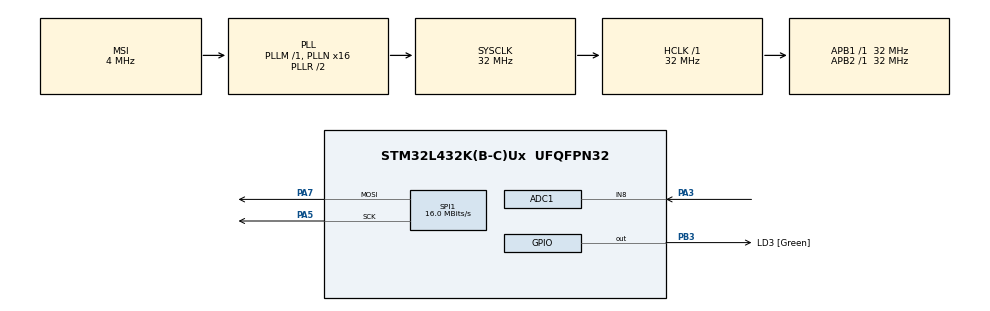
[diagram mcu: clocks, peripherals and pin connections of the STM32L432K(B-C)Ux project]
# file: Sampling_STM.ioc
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ADC1.Channel-0\#ChannelRegularConversion=ADC_CHANNEL_8
ADC1.ExternalTrigConv=ADC_EXTERNALTRIG_T1_TRGO
ADC1.NbrOfConversionFlag=1
ADC1.OffsetNumber-0\#ChannelRegularConversion=ADC_OFFSET_NONE
ADC1.Rank-0\#ChannelRegularConversion=1
ADC1.SamplingTime-0\#ChannelRegularConversion=ADC_SAMPLETIME_2CYCLES_5
ADC1.master=1
Mcu.Family=STM32L4
Mcu.Name=STM32L432K(B-C)Ux
Mcu.Package=UFQFPN32
NVIC.ADC1_IRQn=true\:0\:0\:false\:false\:true\:true\:true\:true
NVIC.PriorityGroup=NVIC_PRIORITYGROUP_4
PA0.GPIO_Label=MCO [High speed clock in]
PA0.Mode=HSE-External-Clock-Source-for-LittleOrca
PA0.Signal=RCC_CK_IN
PA13\ (JTMS-SWDIO).GPIO_Label=SWDIO
PA13\ (JTMS-SWDIO).Mode=Serial_Wire
PA13\ (JTMS-SWDIO).Signal=SYS_JTMS-SWDIO
PA14\ (JTCK-SWCLK).GPIO_Label=SWCLK
PA14\ (JTCK-SWCLK).Mode=Serial_Wire
PA14\ (JTCK-SWCLK).Signal=SYS_JTCK-SWCLK
PA15\ (JTDI).GPIO_Label=VCP_RX
PA15\ (JTDI).Signal=USART2_RX
PA2.GPIO_Label=VCP_TX
PA2.Signal=USART2_TX
PA3.Signal=ADCx_IN8
PA5.Mode=TX_Only_Simplex_Unidirect_Master
PA5.Signal=SPI1_SCK
PA7.Mode=TX_Only_Simplex_Unidirect_Master
PA7.Signal=SPI1_MOSI
PB3\ (JTDO-TRACESWO).GPIO_Label=LD3 [Green]
PB3\ (JTDO-TRACESWO).Signal=GPIO_Output
PC14-OSC32_IN\ (PC14).Mode=LSE-External-Oscillator
PC14-OSC32_IN\ (PC14).Signal=RCC_OSC32_IN
PC15-OSC32_OUT\ (PC15).Mode=LSE-External-Oscillator
PC15-OSC32_OUT\ (PC15).Signal=RCC_OSC32_OUT
ProjectManager.HeapSize=0x200
ProjectManager.StackSize=0x400
ProjectManager.TargetToolchain=STM32CubeIDE
RCC.ADCFreq_Value=32000000
RCC.AHBFreq_Value=32000000
RCC.APB1Freq_Value=32000000
RCC.APB1TimFreq_Value=32000000
RCC.APB2Freq_Value=32000000
RCC.APB2TimFreq_Value=32000000
RCC.CortexFreq_Value=32000000
RCC.HCLKFreq_Value=32000000
RCC.HSE_VALUE=8000000
RCC.HSI16_VALUE=16000000
RCC.HSI48_VALUE=48000000
RCC.HSI_VALUE=16000000
RCC.MSI_VALUE=4000000
RCC.PLLMUL=RCC_PLLMUL_4
RCC.PLLN=16
RCC.PLLSAI1N=16
RCC.SYSCLKFreq_VALUE=32000000
RCC.SYSCLKSource=RCC_SYSCLKSOURCE_PLLCLK
RCC.USBFreq_Value=32000000
RCC.VCOOutputFreq_Value=64000000
SH.ADCx_IN8.0=ADC1_IN8,IN8-Single-Ended
SPI1.CalculateBaudRate=16.0 MBits/s
SPI1.DataSize=SPI_DATASIZE_8BIT
SPI1.Direction=SPI_DIRECTION_2LINES
SPI1.Mode=SPI_MODE_MASTER
SPI1.VirtualType=VM_MASTER
TIM1.Period=725-1
TIM1.Prescaler=0
TIM1.TIM_MasterOutputTrigger=TIM_TRGO_UPDATE
TIM2.Period=65535
TIM2.Prescaler=31
VP_TIM1_VS_ClockSourceINT.Mode=Internal
VP_TIM2_VS_ClockSourceINT.Mode=Internal
board=NUCLEO-L432KC

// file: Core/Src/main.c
/* USER CODE BEGIN Header */
/**
  ******************************************************************************
  * @file           : main.c
  * @brief          : Sampling_STM
  ******************************************************************************
  * @attention
  *
  * Copyright (c) 2026 STMicroelectronics.
  * All rights reserved.
  *
  * This software is licensed under terms that can be found in the LICENSE file
  * in the root directory of this software component.
  * If no LICENSE file comes with this software, it is provided AS-IS.
  *
  ******************************************************************************
  */
/* USER CODE END Header */
#include "main.h"

/* USER CODE BEGIN Includes */
#include <stdio.h>
#include <string.h>
/* USER CODE END Includes */

ADC_HandleTypeDef hadc1;

TIM_HandleTypeDef htim1;
TIM_HandleTypeDef htim2;

/* USER CODE BEGIN PV */

uint16_t raw_ADC_value = 0;

/* USER CODE END PV */

void SystemClock_Config(void);
static void MX_GPIO_Init(void);
static void MX_ADC1_Init(void);
static void MX_TIM2_Init(void);
static void MX_SPI1_Init(void);
static void MX_TIM1_Init(void);

/* USER CODE BEGIN 0 */

static void SPI1_WriteTwoBytes (uint16_t tx_data)
{
    while (!LL_SPI_IsActiveFlag_TXE(SPI1)) {;}
    LL_SPI_TransmitData16(SPI1, tx_data);
    while (LL_SPI_IsActiveFlag_BSY(SPI1)) {;}
    LL_SPI_ClearFlag_OVR(SPI1);
}

/* USER CODE END 0 */

int main(void)
{

  /* MCU Configuration--------------------------------------------------------*/

  /* Reset of all peripherals, Initializes the Flash interface and the Systick. */
  HAL_Init();

  /* Configure the system clock */
  SystemClock_Config();

  /* Initialize all configured peripherals */
  MX_GPIO_Init();
  MX_ADC1_Init();
  MX_TIM2_Init();
  MX_SPI1_Init();
  MX_TIM1_Init();
  /* USER CODE BEGIN 2 */

  // 1. Start the hardware trigger timer (44.1 ksps) [cite: 87, 91]
  HAL_TIM_Base_Start(&htim1);

  // 2. Start the ADC in Interrupt mode
  // It will now sit and wait for TIM1 to trigger it automatically.
  HAL_ADC_Start_IT(&hadc1);

  // 3. Enable the SPI1 Peripheral for the LL drivers [cite: 93]
  LL_SPI_Enable(SPI1);

  /* USER CODE END 2 */

  /* Infinite loop */
  while (1)
  {

  }
}

void SystemClock_Config(void)
{
  RCC_OscInitTypeDef RCC_OscInitStruct = {0};
  RCC_ClkInitTypeDef RCC_ClkInitStruct = {0};

  /** Configure the main internal regulator output voltage
  */
  if (HAL_PWREx_ControlVoltageScaling(PWR_REGULATOR_VOLTAGE_SCALE1) != HAL_OK)
  {
    Error_Handler();
  }

  /** Configure LSE Drive Capability
  */
  HAL_PWR_EnableBkUpAccess();
  __HAL_RCC_LSEDRIVE_CONFIG(RCC_LSEDRIVE_LOW);

  /** Initializes the RCC Oscillators according to the specified parameters
  * in the RCC_OscInitTypeDef structure.
  */
  RCC_OscInitStruct.OscillatorType = RCC_OSCILLATORTYPE_LSE|RCC_OSCILLATORTYPE_MSI;
  RCC_OscInitStruct.LSEState = RCC_LSE_ON;
  RCC_OscInitStruct.MSIState = RCC_MSI_ON;
  RCC_OscInitStruct.MSICalibrationValue = 0;
  RCC_OscInitStruct.MSIClockRange = RCC_MSIRANGE_6;
  RCC_OscInitStruct.PLL.PLLState = RCC_PLL_ON;
  RCC_OscInitStruct.PLL.PLLSource = RCC_PLLSOURCE_MSI;
  RCC_OscInitStruct.PLL.PLLM = 1;
  RCC_OscInitStruct.PLL.PLLN = 16;
  RCC_OscInitStruct.PLL.PLLP = RCC_PLLP_DIV7;
  RCC_OscInitStruct.PLL.PLLQ = RCC_PLLQ_DIV2;
  RCC_OscInitStruct.PLL.PLLR = RCC_PLLR_DIV2;
  if (HAL_RCC_OscConfig(&RCC_OscInitStruct) != HAL_OK)
  {
    Error_Handler();
  }

  /** Initializes the CPU, AHB and APB buses clocks
  */
  RCC_ClkInitStruct.ClockType = RCC_CLOCKTYPE_HCLK|RCC_CLOCKTYPE_SYSCLK
                              |RCC_CLOCKTYPE_PCLK1|RCC_CLOCKTYPE_PCLK2;
  RCC_ClkInitStruct.SYSCLKSource = RCC_SYSCLKSOURCE_PLLCLK;
  RCC_ClkInitStruct.AHBCLKDivider = RCC_SYSCLK_DIV1;
  RCC_ClkInitStruct.APB1CLKDivider = RCC_HCLK_DIV1;
  RCC_ClkInitStruct.APB2CLKDivider = RCC_HCLK_DIV1;

  if (HAL_RCC_ClockConfig(&RCC_ClkInitStruct, FLASH_LATENCY_1) != HAL_OK)
  {
    Error_Handler();
  }

  /** Enable MSI Auto calibration
  */
  HAL_RCCEx_EnableMSIPLLMode();
}

static void MX_ADC1_Init(void)
{

  ADC_ChannelConfTypeDef sConfig = {0};

  /** Common config
  */
  hadc1.Instance = ADC1;
  hadc1.Init.ClockPrescaler = ADC_CLOCK_ASYNC_DIV1;
  hadc1.Init.Resolution = ADC_RESOLUTION_12B;
  hadc1.Init.DataAlign = ADC_DATAALIGN_RIGHT;
  hadc1.Init.ScanConvMode = ADC_SCAN_DISABLE;
  hadc1.Init.EOCSelection = ADC_EOC_SINGLE_CONV;
  hadc1.Init.LowPowerAutoWait = DISABLE;
  hadc1.Init.ContinuousConvMode = DISABLE;
  hadc1.Init.NbrOfConversion = 1;
  hadc1.Init.DiscontinuousConvMode = DISABLE;
  hadc1.Init.ExternalTrigConv = ADC_EXTERNALTRIG_T1_TRGO;
  hadc1.Init.ExternalTrigConvEdge = ADC_EXTERNALTRIGCONVEDGE_RISING;
  hadc1.Init.DMAContinuousRequests = DISABLE;
  hadc1.Init.Overrun = ADC_OVR_DATA_PRESERVED;
  hadc1.Init.OversamplingMode = DISABLE;
  if (HAL_ADC_Init(&hadc1) != HAL_OK)
  {
    Error_Handler();
  }

  /** Configure Regular Channel
  */
  sConfig.Channel = ADC_CHANNEL_8;
  sConfig.Rank = ADC_REGULAR_RANK_1;
  sConfig.SamplingTime = ADC_SAMPLETIME_2CYCLES_5;
  sConfig.SingleDiff = ADC_SINGLE_ENDED;
  sConfig.OffsetNumber = ADC_OFFSET_NONE;
  sConfig.Offset = 0;
  if (HAL_ADC_ConfigChannel(&hadc1, &sConfig) != HAL_OK)
  {
    Error_Handler();
  }

}

static void MX_SPI1_Init(void)
{

  LL_SPI_InitTypeDef SPI_InitStruct = {0};

  LL_GPIO_InitTypeDef GPIO_InitStruct = {0};

  /* Peripheral clock enable */
  LL_APB2_GRP1_EnableClock(LL_APB2_GRP1_PERIPH_SPI1);

  LL_AHB2_GRP1_EnableClock(LL_AHB2_GRP1_PERIPH_GPIOA);
  /**SPI1 GPIO Configuration
  PA5   ------> SPI1_SCK
  PA7   ------> SPI1_MOSI
  */
  GPIO_InitStruct.Pin = LL_GPIO_PIN_5|LL_GPIO_PIN_7;
  GPIO_InitStruct.Mode = LL_GPIO_MODE_ALTERNATE;
  GPIO_InitStruct.Speed = LL_GPIO_SPEED_FREQ_VERY_HIGH;
  GPIO_InitStruct.OutputType = LL_GPIO_OUTPUT_PUSHPULL;
  GPIO_InitStruct.Pull = LL_GPIO_PULL_NO;
  GPIO_InitStruct.Alternate = LL_GPIO_AF_5;
  LL_GPIO_Init(GPIOA, &GPIO_InitStruct);

  /* SPI1 parameter configuration*/
  SPI_InitStruct.TransferDirection = LL_SPI_FULL_DUPLEX;
  SPI_InitStruct.Mode = LL_SPI_MODE_MASTER;
  SPI_InitStruct.DataWidth = LL_SPI_DATAWIDTH_8BIT;
  SPI_InitStruct.ClockPolarity = LL_SPI_POLARITY_LOW;
  SPI_InitStruct.ClockPhase = LL_SPI_PHASE_1EDGE;
  SPI_InitStruct.NSS = LL_SPI_NSS_SOFT;
  SPI_InitStruct.BaudRate = LL_SPI_BAUDRATEPRESCALER_DIV2;
  SPI_InitStruct.BitOrder = LL_SPI_MSB_FIRST;
  SPI_InitStruct.CRCCalculation = LL_SPI_CRCCALCULATION_DISABLE;
  SPI_InitStruct.CRCPoly = 7;
  LL_SPI_Init(SPI1, &SPI_InitStruct);
  LL_SPI_SetStandard(SPI1, LL_SPI_PROTOCOL_MOTOROLA);
  LL_SPI_EnableNSSPulseMgt(SPI1);

}

static void MX_TIM1_Init(void)
{

  TIM_ClockConfigTypeDef sClockSourceConfig = {0};
  TIM_MasterConfigTypeDef sMasterConfig = {0};

  htim1.Instance = TIM1;
  htim1.Init.Prescaler = 0;
  htim1.Init.CounterMode = TIM_COUNTERMODE_UP;
  htim1.Init.Period = 725-1;
  htim1.Init.ClockDivision = TIM_CLOCKDIVISION_DIV1;
  htim1.Init.RepetitionCounter = 0;
  htim1.Init.AutoReloadPreload = TIM_AUTORELOAD_PRELOAD_DISABLE;
  if (HAL_TIM_Base_Init(&htim1) != HAL_OK)
  {
    Error_Handler();
  }
  sClockSourceConfig.ClockSource = TIM_CLOCKSOURCE_INTERNAL;
  if (HAL_TIM_ConfigClockSource(&htim1, &sClockSourceConfig) != HAL_OK)
  {
    Error_Handler();
  }
  sMasterConfig.MasterOutputTrigger = TIM_TRGO_UPDATE;
  sMasterConfig.MasterOutputTrigger2 = TIM_TRGO2_RESET;
  sMasterConfig.MasterSlaveMode = TIM_MASTERSLAVEMODE_DISABLE;
  if (HAL_TIMEx_MasterConfigSynchronization(&htim1, &sMasterConfig) != HAL_OK)
  {
    Error_Handler();
  }

}

static void MX_TIM2_Init(void)
{

  TIM_ClockConfigTypeDef sClockSourceConfig = {0};
  TIM_MasterConfigTypeDef sMasterConfig = {0};

  htim2.Instance = TIM2;
  htim2.Init.Prescaler = 31;
  htim2.Init.CounterMode = TIM_COUNTERMODE_UP;
  htim2.Init.Period = 65535;
  htim2.Init.ClockDivision = TIM_CLOCKDIVISION_DIV1;
  htim2.Init.AutoReloadPreload = TIM_AUTORELOAD_PRELOAD_DISABLE;
  if (HAL_TIM_Base_Init(&htim2) != HAL_OK)
  {
    Error_Handler();
  }
  sClockSourceConfig.ClockSource = TIM_CLOCKSOURCE_INTERNAL;
  if (HAL_TIM_ConfigClockSource(&htim2, &sClockSourceConfig) != HAL_OK)
  {
    Error_Handler();
  }
  sMasterConfig.MasterOutputTrigger = TIM_TRGO_RESET;
  sMasterConfig.MasterSlaveMode = TIM_MASTERSLAVEMODE_DISABLE;
  if (HAL_TIMEx_MasterConfigSynchronization(&htim2, &sMasterConfig) != HAL_OK)
  {
    Error_Handler();
  }

}

static void MX_GPIO_Init(void)
{
  GPIO_InitTypeDef GPIO_InitStruct = {0};

  /* GPIO Ports Clock Enable */
  __HAL_RCC_GPIOC_CLK_ENABLE();
  __HAL_RCC_GPIOA_CLK_ENABLE();
  __HAL_RCC_GPIOB_CLK_ENABLE();

  /*Configure GPIO pin Output Level */
  HAL_GPIO_WritePin(LD3_GPIO_Port, LD3_Pin, GPIO_PIN_RESET);

  /*Configure GPIO pin : VCP_TX_Pin */
  GPIO_InitStruct.Pin = VCP_TX_Pin;
  GPIO_InitStruct.Mode = GPIO_MODE_AF_PP;
  GPIO_InitStruct.Pull = GPIO_NOPULL;
  GPIO_InitStruct.Speed = GPIO_SPEED_FREQ_VERY_HIGH;
  GPIO_InitStruct.Alternate = GPIO_AF7_USART2;
  HAL_GPIO_Init(VCP_TX_GPIO_Port, &GPIO_InitStruct);

  /*Configure GPIO pin : VCP_RX_Pin */
  GPIO_InitStruct.Pin = VCP_RX_Pin;
  GPIO_InitStruct.Mode = GPIO_MODE_AF_PP;
  GPIO_InitStruct.Pull = GPIO_NOPULL;
  GPIO_InitStruct.Speed = GPIO_SPEED_FREQ_VERY_HIGH;
  GPIO_InitStruct.Alternate = GPIO_AF3_USART2;
  HAL_GPIO_Init(VCP_RX_GPIO_Port, &GPIO_InitStruct);

  /*Configure GPIO pin : LD3_Pin */
  GPIO_InitStruct.Pin = LD3_Pin;
  GPIO_InitStruct.Mode = GPIO_MODE_OUTPUT_PP;
  GPIO_InitStruct.Pull = GPIO_NOPULL;
  GPIO_InitStruct.Speed = GPIO_SPEED_FREQ_LOW;
  HAL_GPIO_Init(LD3_GPIO_Port, &GPIO_InitStruct);

}

/* USER CODE BEGIN 4 */

// This interrupt fires the exact microsecond the ADC finishes taking its 12-bit reading
void HAL_ADC_ConvCpltCallback(ADC_HandleTypeDef* hadc)
{
  if (hadc == &hadc1)
  {
	  // 1. Grab the raw 12-bit reading
	  uint16_t raw_ADC_value = HAL_ADC_GetValue(&hadc1);

	  // 2. Immediately transmit it out over SPI to the Processing STM at maximum speed
	  SPI1_WriteTwoBytes(raw_ADC_value);
  }
}

/* USER CODE END 4 */

void Error_Handler(void)
{
  __disable_irq();
  while (1)
  {
  }
}
